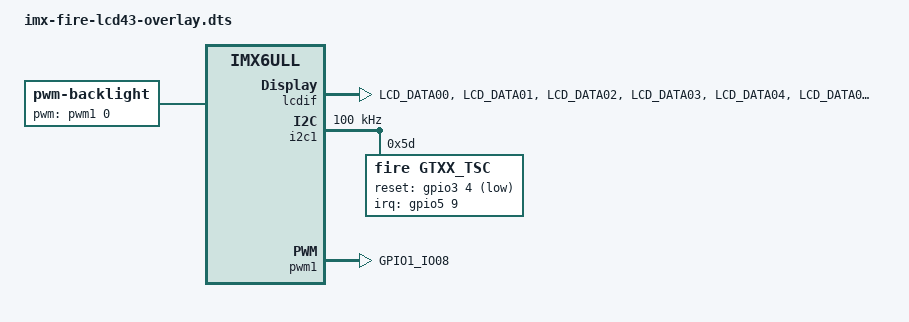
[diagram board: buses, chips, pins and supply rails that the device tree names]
/*
 * Copyright (C) 2019 - All Rights Reserved by 
 * filename : imx-fire-lcd5-overlay.dts
 * brief : Device Tree overlay for EBF6ull lcd5' or lcd7' device
 * author : embedfire
 * date : 2019-11-19 
 * version : A001
 */
#include "imx6ul-pinfunc.h"
#include "imx6ull-pinfunc-snvs.h"
#include "dt-bindings/interrupt-controller/irq.h"
#include "dt-bindings/gpio/gpio.h"
/dts-v1/;
/plugin/;

/ {
     compatible = "fsl,imx6ull-14x14-evk", "fsl,imx6ull";

        fragment@0 {
                target = <&lcdif>;
                __overlay__ {
                    pinctrl-names = "default";
                    pinctrl-0 = <&pinctrl_lcdif_dat &pinctrl_lcdif_ctrl>;
                    display = <&display0>;
                    status = "okay";

                	display0: display {
                		bits-per-pixel = <16>;
                		bus-width = <24>;

                		display-timings {
                			native-mode = <&timing1>;

                		timing1: timing1 {
		                        mode_name = "TFT50AB";
		                        clock-frequency = <9000000>;
		                        hactive = <480>;
														vactive = <272>;
														hfront-porch = <8>;
														hback-porch = <2>;
														hsync-len = <41>;
														vback-porch = <4>;
														vfront-porch = <4>;
														vsync-len = <10>;

														hsync-active = <0>;
														vsync-active = <0>;
														de-active = <1>;
														pixelclk-active = <0>;
                			};
                		};
                	};
                };
            };
        fragment@1 {
            target = <&i2c1>;
            __overlay__ { 
                clock-frequency = <100000>;
                pinctrl-names = "default";
                pinctrl-0 = <&pinctrl_i2c1>;
                status = "okay";
                gtxx_tsc@5d {
                	compatible = "fire,gtxx_tsc";
                	pinctrl-0 = <&pinctrl_tsc_reset>;
                	pinctrl-1 = <&pinctrl_tsc_irq>;
                	reg = <0x5d>;
                	status = "okay";
                	/*gpio*/
                	reset-gpios = <&gpio3 4 GPIO_ACTIVE_LOW>;
                	irq-gpios = <&gpio5 9 GPIO_ACTIVE_HIGH>;
                	/*中断*/
                	interrupt-parent = <&gpio5>;
                	interrupts = <9 IRQ_TYPE_EDGE_FALLING>;
                	irq-flags = <2>;		/*1:rising 2: falling*/	
                };    
            };
        };
        fragment@2 {
                target = <&iomuxc>;
                __overlay__ {
                    pinctrl_lcdif_ctrl: lcdifctrlgrp {
                        fsl,pins = <
                            MX6UL_PAD_LCD_CLK__LCDIF_CLK	    0x79
                            MX6UL_PAD_LCD_ENABLE__LCDIF_ENABLE  0x79
                            MX6UL_PAD_LCD_HSYNC__LCDIF_HSYNC    0x79
                            MX6UL_PAD_LCD_VSYNC__LCDIF_VSYNC    0x79
                        >;
                    };
                    pinctrl_lcdif_dat: lcdifdatgrp {
                        fsl,pins = <
                            MX6UL_PAD_LCD_DATA00__LCDIF_DATA00  0x79
                            MX6UL_PAD_LCD_DATA01__LCDIF_DATA01  0x79
                            MX6UL_PAD_LCD_DATA02__LCDIF_DATA02  0x79
                            MX6UL_PAD_LCD_DATA03__LCDIF_DATA03  0x79
                            MX6UL_PAD_LCD_DATA04__LCDIF_DATA04  0x79
                            MX6UL_PAD_LCD_DATA05__LCDIF_DATA05  0x79
                            MX6UL_PAD_LCD_DATA06__LCDIF_DATA06  0x79
                            MX6UL_PAD_LCD_DATA07__LCDIF_DATA07  0x79
                            MX6UL_PAD_LCD_DATA08__LCDIF_DATA08  0x79
                            MX6UL_PAD_LCD_DATA09__LCDIF_DATA09  0x79
                            MX6UL_PAD_LCD_DATA10__LCDIF_DATA10  0x79
                            MX6UL_PAD_LCD_DATA11__LCDIF_DATA11  0x79
                            MX6UL_PAD_LCD_DATA12__LCDIF_DATA12  0x79
                            MX6UL_PAD_LCD_DATA13__LCDIF_DATA13  0x79
                            MX6UL_PAD_LCD_DATA14__LCDIF_DATA14  0x79
                            MX6UL_PAD_LCD_DATA15__LCDIF_DATA15  0x79
                            MX6UL_PAD_LCD_DATA16__LCDIF_DATA16  0x79
                            MX6UL_PAD_LCD_DATA17__LCDIF_DATA17  0x79
                            MX6UL_PAD_LCD_DATA18__LCDIF_DATA18  0x79
                            MX6UL_PAD_LCD_DATA19__LCDIF_DATA19  0x79
                            MX6UL_PAD_LCD_DATA20__LCDIF_DATA20  0x79
                            MX6UL_PAD_LCD_DATA21__LCDIF_DATA21  0x79
                            MX6UL_PAD_LCD_DATA22__LCDIF_DATA22  0x79
                            MX6UL_PAD_LCD_DATA23__LCDIF_DATA23  0x79
                        >;
                    };

								pinctrl_pwm1: pwm1grp {
									fsl,pins = <
										MX6UL_PAD_GPIO1_IO08__PWM1_OUT   0x000010B1
									>;
								};
                pinctrl_tsc_reset: tscresetgrp {
                    fsl,pins = <
                        /* used for tsc reset */
                        MX6UL_PAD_LCD_RESET__GPIO3_IO04		0x05
                    >;
                };
            };
        };
        fragment@3 {
            target = <&iomuxc_snvs>;
            __overlay__ {
                pinctrl_tsc_irq: tsc_irq {
                    fsl,pins = <
                        MX6ULL_PAD_SNVS_TAMPER9__GPIO5_IO09        0x4001b8b0
                    >;
                };
            };
        };
	fragment@4 {
		target-path = "/";
		__overlay__ {
			backlight {
				compatible = "pwm-backlight";
				pwms = <&pwm1 0 1000000>;
				brightness-levels = <0 1 2 3 4 5 6 7 8 9 10 11 12 13 14 15 16 17 18 19 20 21 22 23 24 25 26 27 28 29 30 31 32 33 34 35 36 37 38 39 40 41 42 43 44 45 46 47 48 49 50 51 52 53 54 55 56 57 58 59 60 61 62 63 64 65 66 67 68 69 70 71 72 73 74 75 76 77 78 79 80 81 82 83 84 85 86 87 88 89 90 91 92 93 94 95 96 97 98 99 100>;
				default-brightness-level = <90>;
				status = "okay";
			};			
		};	
	};	
	fragment@5 {
		target=<&pwm1>;
		__overlay__ {
			pinctrl-names = "default";
			pinctrl-0 = <&pinctrl_pwm1>;
			status = "okay";
		};
	
	};
	
};

